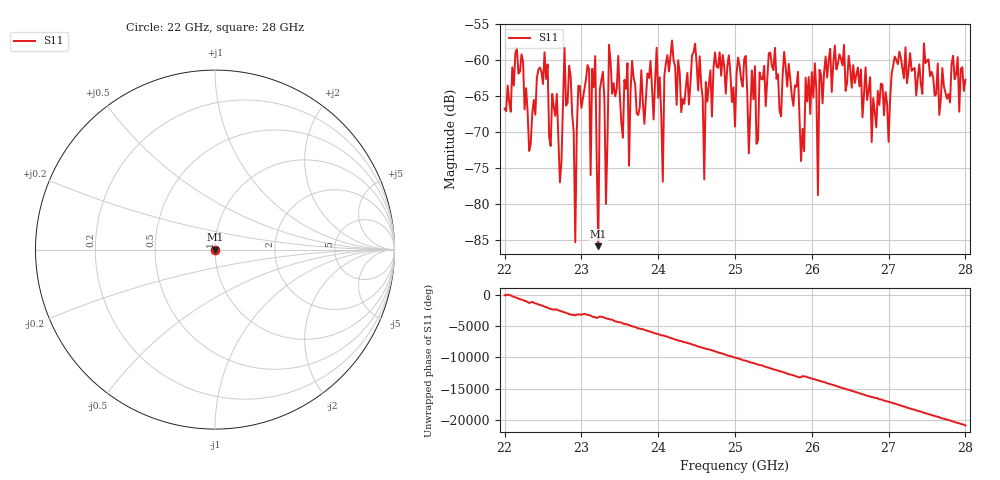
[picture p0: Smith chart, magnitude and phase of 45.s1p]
#  HZ  S  RI  R  50.00
! Rohde & Schwarz ZVA40 4Ports - Version 3.90 - 1145.1110k42 SN: 100403
! Date: 2023-10-04 11:28:28
! Measurement: S12
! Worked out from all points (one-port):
!   301 points, 22 GHz to 28 GHz, reference 50 ohm
!   lowest |S11| = -85.9 dB at 23.22 GHz (marker M1), VSWR 1.00, Z = 50 - j0.0019 ohm
!   |S11| at or under -10 dB: start of sweep to end of sweep
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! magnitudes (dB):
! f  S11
! 22 GHz  -66.7
! 22.76 GHz  -66.0
! 22.86 GHz  -62.2
! 22.92 GHz  -85.4
! 22.96 GHz  -63.6
! 23.1 GHz  -61.3
! 23.12 GHz  -76.0
! 23.18 GHz  -59.4
! 23.22 GHz  -85.9
! 23.28 GHz  -61.6
! 23.32 GHz  -80.0
! 23.36 GHz  -57.9
! 23.5 GHz  -64.8
! 23.98 GHz  -58.3
! 24.06 GHz  -76.9
! 24.1 GHz  -60.4
! 24.26 GHz  -60.0
! 24.54 GHz  -59.4
! 24.6 GHz  -76.6
! 24.74 GHz  -58.9
! 25 GHz  -69.3
! 25.76 GHz  -66.4
! 26.04 GHz  -60.4
! 26.08 GHz  -78.8
! 26.1 GHz  -61.3
! 26.5 GHz  -61.1
! 27.26 GHz  -61.4
! 28 GHz  -62.7
